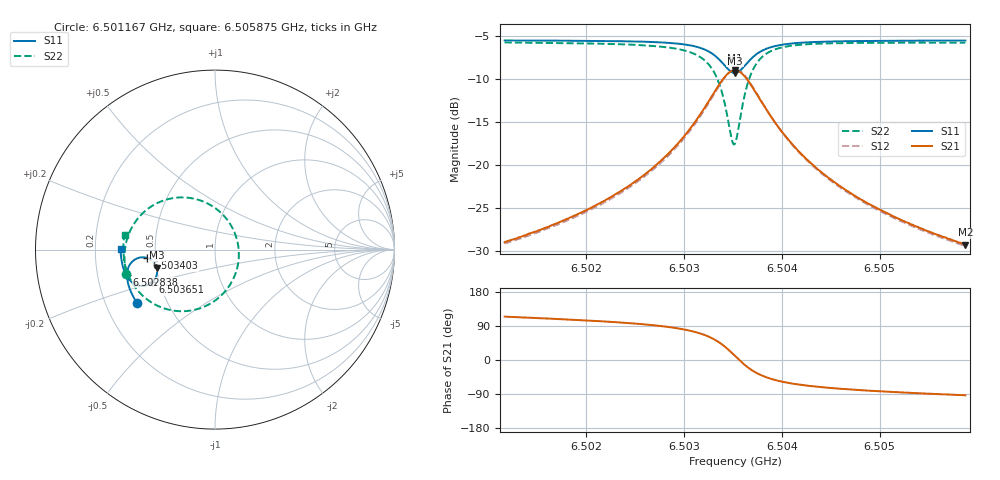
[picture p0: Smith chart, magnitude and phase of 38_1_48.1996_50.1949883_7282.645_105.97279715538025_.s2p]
#  HZ  S  RI  R  50.00
! Rohde & Schwarz Vector Network Analyzer
! Rohde-Schwarz,ZNB20-2Port,1311601062101988,3.16
! Created: UTC 3/20/2024, 11:37:44 AM
! freq[Hz]  re:S11  im:S11  re:S21  im:S21  re:S12  im:S12  re:S22  im:S22
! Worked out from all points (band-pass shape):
!   401 points, 6.501167 GHz to 6.505875 GHz, reference 50 ohm
!   highest |S21| = -9.02 dB at 6.503521 GHz (marker M1); lowest = -29.2 dB at 6.505875 GHz (marker M2)
!   |S21| within 3 dB of the highest: 6.503285 GHz to 6.503756 GHz (470.7 kHz wide, 0.00724 % of centre)
!   lowest |S11| = -9.3 dB at 6.503521 GHz (marker M3), VSWR 2.03, Z = 25 - j5.67 ohm
!   |S11| at or under -10 dB: nowhere
!   |S22| runs from -17.6 to -5.8 dB; largest |S21 - S12| = 0.012
!   S11 on the Smith chart (normalised r, x): 6.501167 GHz: 0.34, -0.27; 6.502838 GHz: 0.33, -0.12; 6.503403 GHz: 0.45, -0.05; 6.503651 GHz: 0.46, -0.20; 6.505875 GHz: 0.31, +0.00
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6.501167e9  -0.4361 -0.295  -0.0148 0.0325  -0.0131 0.0326  -0.4952 -0.1333
6.5019557e9  -0.4686 -0.2347  -0.0138 0.0514  -0.0113 0.0508  -0.5047 -0.0453
6.502403e9  -0.4833 -0.1932  -0.0102 0.0729  -0.00697 0.0716  -0.4985 0.0226
6.5027443e9  -0.4903 -0.1533  -0.000346 0.1033  0.00335 0.1007  -0.4762 0.097
6.5028385e9  -0.4906 -0.1397  0.00563 0.1159  0.00953 0.1128  -0.4632 0.124
6.5030386e9  -0.4847 -0.1052  0.0309 0.1529  0.0346 0.1481  -0.4108 0.195
6.5031798e9  -0.4682 -0.0746  0.0729 0.188  0.0754 0.1819  -0.3295 0.2552
6.5033093e9  -0.4304 -0.0475  0.1537 0.2142  0.1542 0.2078  -0.1823 0.2909
6.5034035e9  -0.3815 -0.0454  0.2492 0.1959  0.2492 0.1912  -0.0169 0.2434
6.5034859e9  -0.3369 -0.0768  0.3302 0.1169  0.3327 0.1126  0.1121 0.0871
6.5035212e9  -0.3258 -0.1002  0.3477 0.0658  0.3518 0.0602  0.1326 -0.00921
6.5035447e9  -0.3228 -0.1173  0.3511 0.0296  0.3554 0.0225  0.1293 -0.0757
6.5035801e9  -0.3253 -0.1425  0.3429 -0.0227  0.3465 -0.0321  0.0993 -0.1687
6.5036507e9  -0.3488 -0.1812  0.2932 -0.1016  0.2931 -0.1138  -0.0176 -0.2961
6.5037448e9  -0.3912 -0.2018  0.2114 -0.1457  0.206 -0.1567  -0.1847 -0.3434
6.5038155e9  -0.4182 -0.2017  0.1615 -0.1509  0.1546 -0.1592  -0.2774 -0.3297
6.5038979e9  -0.4421 -0.1945  0.1196 -0.1445  0.1119 -0.1502  -0.3512 -0.2964
6.5040627e9  -0.4721 -0.1733  0.07 -0.1225  0.0631 -0.125  -0.4317 -0.2263
6.5043099e9  -0.4951 -0.1421  0.0358 -0.0944  0.0307 -0.0949  -0.4808 -0.1463
6.504663e9  -0.5107 -0.1037  0.0158 -0.0692  0.0122 -0.0688  -0.504 -0.0696
6.5050985e9  -0.5205 -0.0623  0.00557 -0.0515  0.00305 -0.0508  -0.5108 -0.00371
6.5058754e9  -0.5261 0.00449  -0.00186 -0.0346  -0.00327 -0.0337  -0.5041 0.0827
